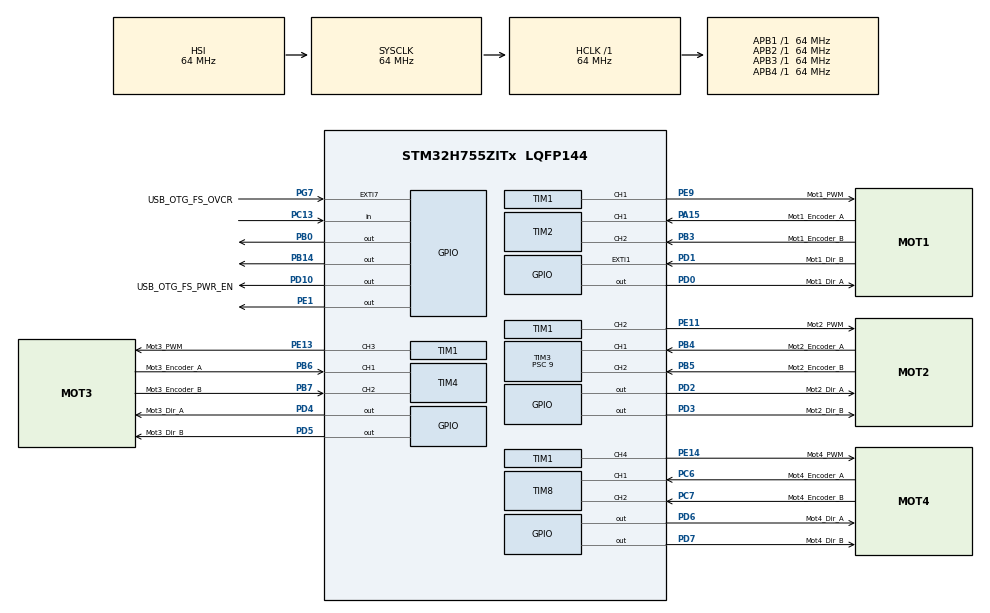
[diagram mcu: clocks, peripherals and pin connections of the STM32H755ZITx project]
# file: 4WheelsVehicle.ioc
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CortexM4.IPs=FATFS_M4\:I,FREERTOS_M4\:I,IWDG2\:I,RCC,WWDG2\:I,DMA,BDMA,MDMA,NVIC2\:I,ETH,USART3,DEBUG,PDM2PCM_M4\:I,PWR,RESMGR_UTILITY,SYS_M4\:I,USB_DEVICE_M4\:I,USB_HOST_M4\:I,CORTEX_M4\:I,GPIO,OPENAMP_M4\:I,VREFBUF,NUCLEO-H755ZI-Q
CortexM7.IPs=FATFS_M7\:I,FREERTOS_M7\:I,IWDG1\:I,RCC\:I,WWDG1\:I,DMA\:I,BDMA\:I,MDMA\:I,NVIC1\:I,ETH\:I,USART3\:I,USB_OTG_FS\:I,SYS\:I,CORTEX_M7\:I,DEBUG\:I,PDM2PCM_M7\:I,PWR\:I,RESMGR_UTILITY\:I,USB_DEVICE_M7\:I,USB_HOST_M7\:I,GPIO\:I,OPENAMP_M7\:I,VREFBUF\:I,NUCLEO-H755ZI-Q\:I,MEMORYMAP\:I,TIM1\:I,TIM3\:I,TIM4\:I,TIM8\:I,TIM2\:I
CortexM7.Pins=PD10,PG7,PD0,PD1,PD2,PD3,PD4,PD5,PD6,PD7
Mcu.Family=STM32H7
Mcu.Name=STM32H755ZITx
Mcu.Package=LQFP144
NUCLEO-H755ZI-Q.BUTTON=1
NUCLEO-H755ZI-Q.LD1=true
NUCLEO-H755ZI-Q.LD2=true
NUCLEO-H755ZI-Q.LD3=true
NUCLEO-H755ZI-Q.VCP=true
NVIC1.EXTI15_10_IRQn=true\:0\:0\:false\:false\:true\:false\:true\:true
NVIC1.PriorityGroup=NVIC_PRIORITYGROUP_4
NVIC2.PriorityGroup=NVIC_PRIORITYGROUP_4
PA1.PinAttribute=CortexM7
PA1.Signal=ETH_REF_CLK
PA11.PinAttribute=CortexM7
PA11.Signal=USB_OTG_FS_DM
PA12.PinAttribute=CortexM7
PA12.Signal=USB_OTG_FS_DP
PA15\ (JTDI).GPIO_Label=Mot1_Encoder_A
PA15\ (JTDI).PinAttribute=CortexM7
PA15\ (JTDI).Signal=S_TIM2_CH1_ETR
PA2.PinAttribute=CortexM7
PA2.Signal=ETH_MDIO
PA7.PinAttribute=CortexM7
PA7.Signal=ETH_CRS_DV
PA8.PinAttribute=CortexM7
PA8.Signal=USB_OTG_FS_SOF
PA9.PinAttribute=CortexM7
PA9.Signal=USB_OTG_FS_VBUS
PB0.Signal=GPIO_Output
PB13.PinAttribute=CortexM7
PB13.Signal=ETH_TXD1
PB14.Signal=GPIO_Output
PB3\ (JTDO/TRACESWO).GPIO_Label=Mot1_Encoder_B
PB3\ (JTDO/TRACESWO).PinAttribute=CortexM7
PB3\ (JTDO/TRACESWO).Signal=S_TIM2_CH2
PB4\ (NJTRST).GPIO_Label=Mot2_Encoder_A
PB4\ (NJTRST).PinAttribute=CortexM7
PB4\ (NJTRST).Signal=S_TIM3_CH1
PB5.GPIO_Label=Mot2_Encoder_B
PB5.PinAttribute=CortexM7
PB5.Signal=S_TIM3_CH2
PB6.GPIO_Label=Mot3_Encoder_A
PB6.PinAttribute=CortexM7
PB6.Signal=S_TIM4_CH1
PB7.GPIO_Label=Mot3_Encoder_B
PB7.PinAttribute=CortexM7
PB7.Signal=S_TIM4_CH2
PC1.PinAttribute=CortexM7
PC1.Signal=ETH_MDC
PC13.Signal=GPIO_Input
PC14-OSC32_IN\ (OSC32_IN).PinAttribute=Free
PC14-OSC32_IN\ (OSC32_IN).Signal=RCC_OSC32_IN
PC15-OSC32_OUT\ (OSC32_OUT).PinAttribute=Free
PC15-OSC32_OUT\ (OSC32_OUT).Signal=RCC_OSC32_OUT
PC4.PinAttribute=CortexM7
PC4.Signal=ETH_RXD0
PC5.PinAttribute=CortexM7
PC5.Signal=ETH_RXD1
PC6.GPIO_Label=Mot4_Encoder_A
PC6.PinAttribute=CortexM7
PC6.Signal=S_TIM8_CH1
PC7.GPIO_Label=Mot4_Encoder_B
PC7.PinAttribute=CortexM7
PC7.Signal=S_TIM8_CH2
PD0.GPIO_Label=Mot1_Dir_A
PD0.PinAttribute=CortexM7
PD0.Signal=GPIO_Output
PD1.GPIO_Label=Mot1_Dir_B
PD1.PinAttribute=CortexM7
PD1.Signal=GPXTI1
PD10.GPIO_Label=USB_OTG_FS_PWR_EN
PD10.PinAttribute=CortexM7
PD10.Signal=GPIO_Output
PD2.GPIO_Label=Mot2_Dir_A
PD2.PinAttribute=CortexM7
PD2.Signal=GPIO_Output
PD3.GPIO_Label=Mot2_Dir_B
PD3.PinAttribute=CortexM7
PD3.Signal=GPIO_Output
PD4.GPIO_Label=Mot3_Dir_A
PD4.PinAttribute=CortexM7
PD4.Signal=GPIO_Output
PD5.GPIO_Label=Mot3_Dir_B
PD5.PinAttribute=CortexM7
PD5.Signal=GPIO_Output
PD6.GPIO_Label=Mot4_Dir_A
PD6.PinAttribute=CortexM7
PD6.Signal=GPIO_Output
PD7.GPIO_Label=Mot4_Dir_B
PD7.PinAttribute=CortexM7
PD7.Signal=GPIO_Output
PD8.Signal=USART3_TX
PD9.Signal=USART3_RX
PE1.Signal=GPIO_Output
PE11.GPIO_Label=Mot2_PWM
PE11.PinAttribute=CortexM7
PE11.Signal=S_TIM1_CH2
PE13.GPIO_Label=Mot3_PWM
PE13.PinAttribute=CortexM7
PE13.Signal=S_TIM1_CH3
PE14.GPIO_Label=Mot4_PWM
PE14.PinAttribute=CortexM7
PE14.Signal=S_TIM1_CH4
PE9.GPIO_Label=Mot1_PWM
PE9.PinAttribute=CortexM7
PE9.Signal=S_TIM1_CH1
PG11.PinAttribute=CortexM7
PG11.Signal=ETH_TX_EN
PG13.PinAttribute=CortexM7
PG13.Signal=ETH_TXD0
PG7.GPIO_Label=USB_OTG_FS_OVCR
PG7.PinAttribute=CortexM7
PG7.Signal=GPXTI7
PH0-OSC_IN\ (PH0).PinAttribute=Free
PH0-OSC_IN\ (PH0).Signal=RCC_OSC_IN
PH1-OSC_OUT\ (PH1).PinAttribute=Free
PH1-OSC_OUT\ (PH1).Signal=RCC_OSC_OUT
ProjectManager.HeapSize=M4-0x200,M7-0x200
ProjectManager.StackSize=M4-0x400,M7-0x400
ProjectManager.TargetToolchain=STM32CubeIDE
RCC.ADCFreq_Value=129000000
RCC.APB1Freq_Value=64000000
RCC.APB2Freq_Value=64000000
RCC.APB3Freq_Value=64000000
RCC.APB4Freq_Value=64000000
RCC.CortexFreq_Value=64000000
RCC.DIVM1=5
RCC.DIVN1=48
RCC.DIVQ1=5
RCC.HCLKFreq_Value=64000000
RCC.PLL2FRACN=0
RCC.PLL3FRACN=0
RCC.PLLFRACN=0
RCC.SYSCLKFreq_VALUE=64000000
RCC.SupplySource=PWR_DIRECT_SMPS_SUPPLY
RCC.USBFreq_Value=122880000
SH.S_TIM1_CH1.0=TIM1_CH1,PWM Generation1 CH1
SH.S_TIM1_CH2.0=TIM1_CH2,PWM Generation2 CH2
SH.S_TIM1_CH3.0=TIM1_CH3,PWM Generation3 CH3
SH.S_TIM1_CH4.0=TIM1_CH4,PWM Generation4 CH4
SH.S_TIM2_CH1_ETR.0=TIM2_CH1,Encoder_Interface
SH.S_TIM2_CH2.0=TIM2_CH2,Encoder_Interface
SH.S_TIM3_CH1.0=TIM3_CH1,Encoder_Interface
SH.S_TIM3_CH2.0=TIM3_CH2,Encoder_Interface
SH.S_TIM4_CH1.0=TIM4_CH1,Encoder_Interface
SH.S_TIM4_CH2.0=TIM4_CH2,Encoder_Interface
SH.S_TIM8_CH1.0=TIM8_CH1,Encoder_Interface
SH.S_TIM8_CH2.0=TIM8_CH2,Encoder_Interface
TIM1.AutoReloadPreload=TIM_AUTORELOAD_PRELOAD_ENABLE
TIM1.Channel-PWM\ Generation1\ CH1=TIM_CHANNEL_1
TIM1.Channel-PWM\ Generation2\ CH2=TIM_CHANNEL_2
TIM1.Channel-PWM\ Generation3\ CH3=TIM_CHANNEL_3
TIM1.Channel-PWM\ Generation4\ CH4=TIM_CHANNEL_4
TIM1.Period=99
TIM1.Prescaler=31
TIM3.Period=424
TIM3.Prescaler=9
VP_MEMORYMAP_VS_MEMORYMAP.Mode=CurAppReg
VP_NUCLEO-H755ZI-Q_VS_BSP_COMMON.Mode=COMMON
VP_SYS_M4_VS_Systick.Mode=SysTick
VP_TIM1_VS_ClockSourceINT.Mode=Internal
board=NUCLEO-H755ZI-Q

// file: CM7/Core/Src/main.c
/* USER CODE BEGIN Header */
/**
  ******************************************************************************
  * @file           : main.c
  * @brief          : Main program body
  ******************************************************************************
  * @attention
  *
  * Copyright (c) 2025 STMicroelectronics.
  * All rights reserved.
  *
  * This software is licensed under terms that can be found in the LICENSE file
  * in the root directory of this software component.
  * If no LICENSE file comes with this software, it is provided AS-IS.
  *
  ******************************************************************************
  */
/* USER CODE END Header */
#include "main.h"
#include "tim.h"
#include "gpio.h"

/* USER CODE BEGIN Includes */
#include "motor_driver.h"
/* USER CODE END Includes */

/* USER CODE BEGIN PD */

/* DUAL_CORE_BOOT_SYNC_SEQUENCE: Define for dual core boot synchronization    */
/*                             demonstration code based on hardware semaphore */
/* This define is present in both CM7/CM4 projects                            */
/* To comment when developing/debugging on a single core                     */
//#define DUAL_CORE_BOOT_SYNC_SEQUENCE

#if defined(DUAL_CORE_BOOT_SYNC_SEQUENCE)
#ifndef HSEM_ID_0
#define HSEM_ID_0 (0U) /* HW semaphore 0*/
#endif
#endif /* DUAL_CORE_BOOT_SYNC_SEQUENCE */

/* USER CODE END PD */

COM_InitTypeDef BspCOMInit;

/* USER CODE BEGIN PV */
MotorDriver motorA;
MotorDriver motorB;
MotorDriver motorC;
MotorDriver motorD;
/* USER CODE END PV */

void SystemClock_Config(void);

int main(void)
{

/* USER CODE BEGIN Boot_Mode_Sequence_0 */
#if defined(DUAL_CORE_BOOT_SYNC_SEQUENCE)
  int32_t timeout;
#endif /* DUAL_CORE_BOOT_SYNC_SEQUENCE */
/* USER CODE END Boot_Mode_Sequence_0 */

/* USER CODE BEGIN Boot_Mode_Sequence_1 */
#if defined(DUAL_CORE_BOOT_SYNC_SEQUENCE)
  /* Wait until CPU2 boots and enters in stop mode or timeout*/
  timeout = 0xFFFF;
  while((__HAL_RCC_GET_FLAG(RCC_FLAG_D2CKRDY) != RESET) && (timeout-- > 0));
  if ( timeout < 0 )
  {
  Error_Handler();
  }
#endif /* DUAL_CORE_BOOT_SYNC_SEQUENCE */
/* USER CODE END Boot_Mode_Sequence_1 */
  /* MCU Configuration--------------------------------------------------------*/

  /* Reset of all peripherals, Initializes the Flash interface and the Systick. */
  HAL_Init();

  /* Configure the system clock */
  SystemClock_Config();
/* USER CODE BEGIN Boot_Mode_Sequence_2 */
#if defined(DUAL_CORE_BOOT_SYNC_SEQUENCE)
/* When system initialization is finished, Cortex-M7 will release Cortex-M4 by means of
HSEM notification */
/*HW semaphore Clock enable*/
__HAL_RCC_HSEM_CLK_ENABLE();
/*Take HSEM */
HAL_HSEM_FastTake(HSEM_ID_0);
/*Release HSEM in order to notify the CPU2(CM4)*/
HAL_HSEM_Release(HSEM_ID_0,0);
/* wait until CPU2 wakes up from stop mode */
timeout = 0xFFFF;
while((__HAL_RCC_GET_FLAG(RCC_FLAG_D2CKRDY) == RESET) && (timeout-- > 0));
if ( timeout < 0 )
{
Error_Handler();
}
#endif /* DUAL_CORE_BOOT_SYNC_SEQUENCE */
/* USER CODE END Boot_Mode_Sequence_2 */

  /* Initialize all configured peripherals */
  MX_GPIO_Init();
  MX_TIM3_Init();
  MX_TIM1_Init();
  MX_TIM2_Init();
  MX_TIM4_Init();
  MX_TIM8_Init();
  /* USER CODE BEGIN 2 */
  HAL_TIM_PWM_Start(&htim1, TIM_CHANNEL_1);
  HAL_TIM_PWM_Start(&htim1, TIM_CHANNEL_2);
  HAL_TIM_PWM_Start(&htim1, TIM_CHANNEL_3);
  HAL_TIM_PWM_Start(&htim1, TIM_CHANNEL_4);

  /*Motor A Init*/
  MotorDriver_Init(&motorA,
                   TIM1, TIM_CHANNEL_1,   // PWM timer + channel
                   TIM2,                  // Encoder timer
                   GPIOD, Mot1_Dir_A_Pin, Mot1_Dir_B_Pin,  // Dir pins (adjust as needed)
                   GPIOA, Mot1_Encoder_A_Pin,        // Encoder A
                   GPIOB, Mot1_Encoder_B_Pin);       // Encoder B

  /*Motor B Init*/
  MotorDriver_Init(&motorB,
                   TIM1, TIM_CHANNEL_2,   // PWM timer + channel
                   TIM3,                  // Encoder timer
                   GPIOD,  Mot2_Dir_A_Pin, Mot2_Dir_B_Pin,  // Dir pins (adjust as needed)
                   GPIOB, Mot2_Encoder_A_Pin,        // Encoder A
                   GPIOB, Mot2_Encoder_B_Pin);       // Encoder B

  /*Motor C Init*/
  MotorDriver_Init(&motorC,
                   TIM1, TIM_CHANNEL_3,   // PWM timer + channel
                   TIM4,                  // Encoder timer
                   GPIOD,  Mot3_Dir_A_Pin, Mot3_Dir_B_Pin,  // Dir pins (adjust as needed)
                   GPIOB, Mot3_Encoder_A_Pin,        // Encoder A
                   GPIOB, Mot3_Encoder_B_Pin);       // Encoder B

  /*Motor D Init*/
  MotorDriver_Init(&motorD,
                   TIM1, TIM_CHANNEL_4,   // PWM timer + channel
                   TIM5,                  // Encoder timer
                   GPIOD,  Mot4_Dir_A_Pin, Mot4_Dir_B_Pin, // Dir pins (adjust as needed)
                   GPIOC, Mot4_Encoder_A_Pin,        // Encoder A
                   GPIOC, Mot4_Encoder_B_Pin);       // Encoder B
  /* USER CODE END 2 */

  /* Initialize leds */
  BSP_LED_Init(LED_GREEN);
  BSP_LED_Init(LED_YELLOW);
  BSP_LED_Init(LED_RED);

  /* Initialize USER push-button, will be used to trigger an interrupt each time it's pressed.*/
  BSP_PB_Init(BUTTON_USER, BUTTON_MODE_EXTI);

  /* Initialize COM1 port (115200, 8 bits (7-bit data + 1 stop bit), no parity */
  BspCOMInit.BaudRate   = 115200;
  BspCOMInit.WordLength = COM_WORDLENGTH_8B;
  BspCOMInit.StopBits   = COM_STOPBITS_1;
  BspCOMInit.Parity     = COM_PARITY_NONE;
  BspCOMInit.HwFlowCtl  = COM_HWCONTROL_NONE;
  if (BSP_COM_Init(COM1, &BspCOMInit) != BSP_ERROR_NONE)
  {
    Error_Handler();
  }

  /* Infinite loop */
  /* USER CODE BEGIN WHILE */
  while (1)
  {
    // Motor A
    MotorDriver_CW(&motorA, 100);

    // Motor B
    MotorDriver_CW(&motorB, 100);

    // Motor C
    MotorDriver_CW(&motorC, 100);

    // Motor D
    MotorDriver_CW(&motorD, 100);

    /* USER CODE END WHILE */

  }
}

void SystemClock_Config(void)
{
  RCC_OscInitTypeDef RCC_OscInitStruct = {0};
  RCC_ClkInitTypeDef RCC_ClkInitStruct = {0};

  /** Supply configuration update enable
  */
  HAL_PWREx_ConfigSupply(PWR_DIRECT_SMPS_SUPPLY);

  /** Configure the main internal regulator output voltage
  */
  __HAL_PWR_VOLTAGESCALING_CONFIG(PWR_REGULATOR_VOLTAGE_SCALE3);

  while(!__HAL_PWR_GET_FLAG(PWR_FLAG_VOSRDY)) {}

  /** Initializes the RCC Oscillators according to the specified parameters
  * in the RCC_OscInitTypeDef structure.
  */
  RCC_OscInitStruct.OscillatorType = RCC_OSCILLATORTYPE_HSI;
  RCC_OscInitStruct.HSIState = RCC_HSI_DIV1;
  RCC_OscInitStruct.HSICalibrationValue = RCC_HSICALIBRATION_DEFAULT;
  RCC_OscInitStruct.PLL.PLLState = RCC_PLL_NONE;
  if (HAL_RCC_OscConfig(&RCC_OscInitStruct) != HAL_OK)
  {
    Error_Handler();
  }

  /** Initializes the CPU, AHB and APB buses clocks
  */
  RCC_ClkInitStruct.ClockType = RCC_CLOCKTYPE_HCLK|RCC_CLOCKTYPE_SYSCLK
                              |RCC_CLOCKTYPE_PCLK1|RCC_CLOCKTYPE_PCLK2
                              |RCC_CLOCKTYPE_D3PCLK1|RCC_CLOCKTYPE_D1PCLK1;
  RCC_ClkInitStruct.SYSCLKSource = RCC_SYSCLKSOURCE_HSI;
  RCC_ClkInitStruct.SYSCLKDivider = RCC_SYSCLK_DIV1;
  RCC_ClkInitStruct.AHBCLKDivider = RCC_HCLK_DIV1;
  RCC_ClkInitStruct.APB3CLKDivider = RCC_APB3_DIV1;
  RCC_ClkInitStruct.APB1CLKDivider = RCC_APB1_DIV1;
  RCC_ClkInitStruct.APB2CLKDivider = RCC_APB2_DIV1;
  RCC_ClkInitStruct.APB4CLKDivider = RCC_APB4_DIV1;

  if (HAL_RCC_ClockConfig(&RCC_ClkInitStruct, FLASH_LATENCY_1) != HAL_OK)
  {
    Error_Handler();
  }
}

void Error_Handler(void)
{
  __disable_irq();
  while (1)
  {
  }
}
